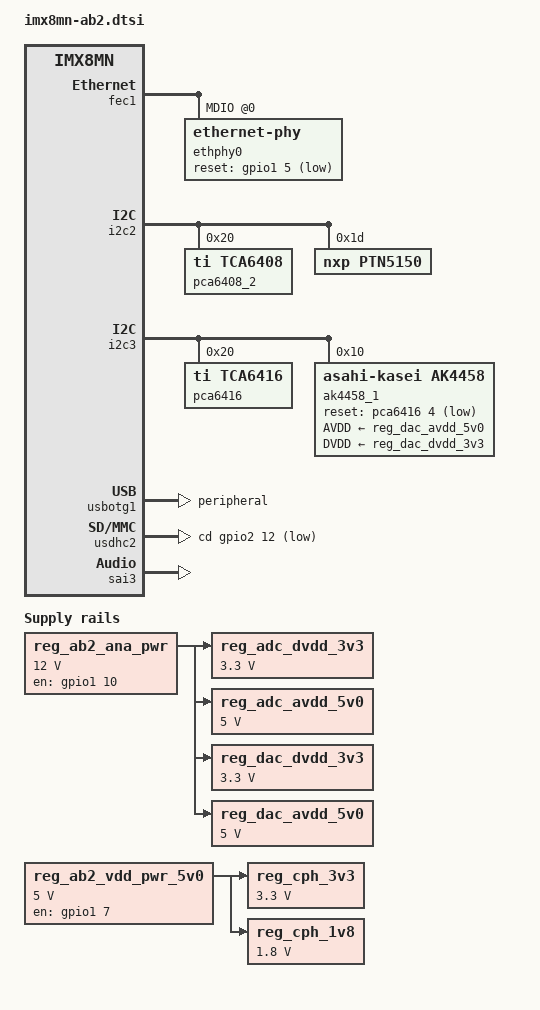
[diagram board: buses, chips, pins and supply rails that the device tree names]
// SPDX-License-Identifier: (GPL-2.0+ OR MIT)
/*
 * Copyright 2021 NXP
 */

/ {
	/delete-node/ audio-codec;
	/delete-node/ ir-receiver;
	/delete-node/ regulator-audio-board;
	/delete-node/ sound-wm8524;
	/delete-node/ sound-micfil;
	/delete-node/ sound-ak5558;

	gpio-leds {
		panel {
			label = "green:panel";
			gpios = <&pca6408_2 0 GPIO_ACTIVE_LOW>;
			default-state = "on";
		};
	};

	reg_ab2_ana_pwr: regulator-ab2-ana-pwr {
		compatible = "regulator-fixed";
		regulator-name = "ANA_12V0";
		pinctrl-names = "default";
		pinctrl-0 = <&pinctrl_ab2_ana_pwr>;
		regulator-min-microvolt = <12000000>;
		regulator-max-microvolt = <12000000>;
		gpio = <&gpio1 10 GPIO_ACTIVE_HIGH>;
		enable-active-high;
		regulator-always-on;
		regulator-boot-on;
	};

	reg_ab2_vdd_pwr_5v0: regulator-ab2-vdd-pwr-5v0 {
		compatible = "regulator-fixed";
		regulator-name = "VDD_5V0";
		pinctrl-names = "default";
		pinctrl-0 = <&pinctrl_ab2_vdd_pwr_5v0>;
		regulator-min-microvolt = <5000000>;
		regulator-max-microvolt = <5000000>;
		gpio = <&gpio1 7 GPIO_ACTIVE_HIGH>;
		enable-active-high;
		regulator-always-on;
		regulator-boot-on;
	};

	reg_adc_dvdd_3v3: reg-adc-dvdd-3v3 {
		compatible = "regulator-fixed";
		regulator-name = "ADC_DVDD_3V3";
		regulator-min-microvolt = <3300000>;
		regulator-max-microvolt = <3300000>;
		vin-supply = <&reg_ab2_ana_pwr>;
	};

	reg_adc_avdd_5v0: reg-adc-avdd-5v0 {
		compatible = "regulator-fixed";
		regulator-name = "ADC_DVDD_5V0";
		regulator-min-microvolt = <5000000>;
		regulator-max-microvolt = <5000000>;
		vin-supply = <&reg_ab2_ana_pwr>;
	};

	reg_dac_dvdd_3v3: reg-dac-dvdd-3v3 {
		compatible = "regulator-fixed";
		regulator-name = "DAC_DVDD_3V3";
		regulator-min-microvolt = <3300000>;
		regulator-max-microvolt = <3300000>;
		vin-supply = <&reg_ab2_ana_pwr>;
	};

	reg_dac_avdd_5v0: reg-dac-avdd-5v0 {
		compatible = "regulator-fixed";
		regulator-name = "ADC_DVDD_5V0";
		regulator-min-microvolt = <5000000>;
		regulator-max-microvolt = <5000000>;
		vin-supply = <&reg_ab2_ana_pwr>;
	};

	reg_cph_3v3: reg-cph-3v3 {
		compatible = "regulator-fixed";
		regulator-name = "CPH_3V3";
		regulator-min-microvolt = <3300000>;
		regulator-max-microvolt = <3300000>;
		vin-supply = <&reg_ab2_vdd_pwr_5v0>;
	};

	reg_cph_1v8: reg-cph-1v8 {
		compatible = "regulator-fixed";
		regulator-name = "CPH_1V8";
		regulator-min-microvolt = <1800000>;
		regulator-max-microvolt = <1800000>;
		vin-supply = <&reg_ab2_vdd_pwr_5v0>;
	};

	sound-ak4458 {
		compatible = "fsl,imx-audio-card";
		model = "ak4458-audio";
		pri-dai-link {
			link-name = "akcodec";
			format = "i2s";
			fsl,mclk-equal-bclk;
			cpu {
				sound-dai = <&sai3>;
			};
			codec {
				sound-dai = <&ak4458_1>;
			};
		};
	};
};

&fec1 {
	mdio {
		ethphy0: ethernet-phy@0 {
			reset-gpios = <&gpio1 5 GPIO_ACTIVE_LOW>;
			reset-deassert-us = <150000>;
			reset-assert-us = <15000>;
			max-speed = <100>;
		};
	};
};

&i2c2 {
	/delete-node/ adv7535@3d;
	/delete-node/ tcpc@50;

	pca6408_2: gpio@20 {
		compatible = "ti,tca6408";
		reg = <0x20>;
		gpio-controller;
		#gpio-cells = <2>;
	};

	ptn5150: tcpc@1d {
		compatible = "nxp,ptn5150";
		reg = <0x1d>;
		status = "okay";

		typec_con: connector {
			compatible = "usb-c-connector";
			label = "USB-C";
			power-role = "dual";
			data-role = "dual";
			try-power-role = "sink";
			source-pdos = <PDO_FIXED(5000, 3000, PDO_FIXED_USB_COMM)>;
			sink-pdos = <PDO_FIXED(5000, 3000, PDO_FIXED_USB_COMM)
				PDO_VAR(5000, 20000, 3000)>;
			op-sink-microwatt = <15000000>;
			self-powered;
		};
	};
};

&i2c3 {
	/delete-node/ ak5558@13;
	/delete-node/ ak4497@11;
	/delete-node/ camera@3c;

	pca6416: gpio@20 {
		compatible = "ti,tca6416";
		reg = <0x20>;
		gpio-controller;
		#gpio-cells = <2>;
	};

	ak4458_1: ak4458@10 {
		#sound-dai-cells = <0>;
		sound-name-prefix = "0";
		compatible = "asahi-kasei,ak4458";
		reg = <0x10>;
		reset-gpios = <&pca6416 4 GPIO_ACTIVE_LOW>;
		AVDD-supply = <&reg_dac_avdd_5v0>;
		DVDD-supply = <&reg_dac_dvdd_3v3>;
		status = "okay";
	};

	ak4458_2: ak4458@12 {
		#sound-dai-cells = <0>;
		sound-name-prefix = "1";
		compatible = "asahi-kasei,ak4458";
		reg = <0x12>;
		reset-gpios = <&pca6416 4 GPIO_ACTIVE_LOW>;
		AVDD-supply = <&reg_dac_avdd_5v0>;
		DVDD-supply = <&reg_dac_dvdd_3v3>;
		status = "disabled";
	};

	ak4458_3: ak4458@11 {
		#sound-dai-cells = <0>;
		sound-name-prefix = "2";
		compatible = "asahi-kasei,ak4458";
		reg = <0x11>;
		reset-gpios = <&pca6416 4 GPIO_ACTIVE_LOW>;
		AVDD-supply = <&reg_dac_avdd_5v0>;
		DVDD-supply = <&reg_dac_dvdd_3v3>;
		status = "disabled";
	};

	ak5552: ak5552@13 {
		#sound-dai-cells = <0>;
		compatible = "asahi-kasei,ak5552";
		reg = <0x13>;
		reset-gpios = <&pca6416 3 GPIO_ACTIVE_LOW>;
		AVDD-supply = <&reg_adc_avdd_5v0>;
		DVDD-supply = <&reg_adc_dvdd_3v3>;
		status = "disabled";
	};
};

&i2c4 {
	clock-frequency = <400000>;
	pinctrl-names = "default";
	pinctrl-0 = <&pinctrl_i2c4>;
	status = "disabled";
};

&iomuxc {
	pinctrl_ab2_ana_pwr: ab2anapwrgrp {
		fsl,pins = <
			MX8MN_IOMUXC_GPIO1_IO10_GPIO1_IO10	0x41
		>;
	};

	pinctrl_ab2_vdd_pwr_5v0: ab2vddpwr5v0grp {
		fsl,pins = <
			MX8MN_IOMUXC_GPIO1_IO07_GPIO1_IO7	0x41
		>;
	};

	pinctrl_i2c4: i2c4grp {
		fsl,pins = <
			MX8MN_IOMUXC_I2C4_SCL_I2C4_SCL		0x400001c3
			MX8MN_IOMUXC_I2C4_SDA_I2C4_SDA		0x400001c3
		>;
	};

	pinctrl_fec1: fec1grp {
		fsl,pins = <
			MX8MN_IOMUXC_ENET_MDC_ENET1_MDC		0x3
			MX8MN_IOMUXC_ENET_MDIO_ENET1_MDIO	0x3
			MX8MN_IOMUXC_ENET_TD3_ENET1_RGMII_TD3	0x1f
			MX8MN_IOMUXC_ENET_TD2_ENET1_RGMII_TD2	0x1f
			MX8MN_IOMUXC_ENET_TD1_ENET1_RGMII_TD1	0x1f
			MX8MN_IOMUXC_ENET_TD0_ENET1_RGMII_TD0	0x1f
			MX8MN_IOMUXC_ENET_RD3_ENET1_RGMII_RD3	0x91
			MX8MN_IOMUXC_ENET_RD2_ENET1_RGMII_RD2	0x91
			MX8MN_IOMUXC_ENET_RD1_ENET1_RGMII_RD1	0x91
			MX8MN_IOMUXC_ENET_RD0_ENET1_RGMII_RD0	0x91
			MX8MN_IOMUXC_ENET_TXC_ENET1_RGMII_TXC	0x1f
			MX8MN_IOMUXC_ENET_RXC_ENET1_RGMII_RXC	0x91
			MX8MN_IOMUXC_ENET_RX_CTL_ENET1_RGMII_RX_CTL	0x91
			MX8MN_IOMUXC_ENET_TX_CTL_ENET1_RGMII_TX_CTL	0x1f
			MX8MN_IOMUXC_GPIO1_IO05_GPIO1_IO5	0x19
		>;
	};

	pinctrl_usdhc2_gpio: usdhc2gpiogrp {
		fsl,pins = <
			MX8MN_IOMUXC_SD2_CD_B_GPIO2_IO12	0x1c4
		>;
	};

	pinctrl_sai3: sai3grp {
		fsl,pins = <
			MX8MN_IOMUXC_SAI3_MCLK_SAI3_MCLK	0xd6
			MX8MN_IOMUXC_SAI3_TXFS_SAI3_TX_SYNC	0xd6
			MX8MN_IOMUXC_SAI3_TXC_SAI3_TX_BCLK	0xd6
			MX8MN_IOMUXC_SAI3_TXD_SAI3_TX_DATA0	0xd6
			MX8MN_IOMUXC_SAI3_RXD_SAI3_TX_DATA1	0xd6
		>;
	};
};

&isi {
	status = "disabled";
	/delete-node/ ports;
};

&micfil {
	status = "disabled";
};

&mipi_csi {
	status = "disabled";
	/delete-node/ ports;
};

&mipi_dsi {
	status = "disabled";
	/delete-node/ port@1;
};


&usbotg1 {
	dr_mode = "peripheral";
	/delete-property/ usb-role-switch;
	/delete-node/ port;
};

&usdhc2 {
	cd-gpios = <&gpio2 12 GPIO_ACTIVE_LOW>;
};

&sai3 {
	#sound-dai-cells = <0>;
	pinctrl-names = "default";
	pinctrl-0 = <&pinctrl_sai3>;
	assigned-clocks = <&clk IMX8MN_CLK_SAI3>;
	assigned-clock-parents = <&clk IMX8MN_AUDIO_PLL1_OUT>;
	assigned-clock-rates = <49152000>;
	clocks = <&clk IMX8MN_CLK_SAI3_IPG>, <&clk IMX8MN_CLK_DUMMY>,
		<&clk IMX8MN_CLK_SAI3_ROOT>, <&clk IMX8MN_CLK_DUMMY>,
		<&clk IMX8MN_CLK_DUMMY>, <&clk IMX8MN_AUDIO_PLL1_OUT>,
		<&clk IMX8MN_AUDIO_PLL2_OUT>;
	clock-names = "bus", "mclk0", "mclk1", "mclk2", "mclk3", "pll8k", "pll11k";
	fsl,dataline = <2 0x3 0x3>;
	status = "okay";
};
